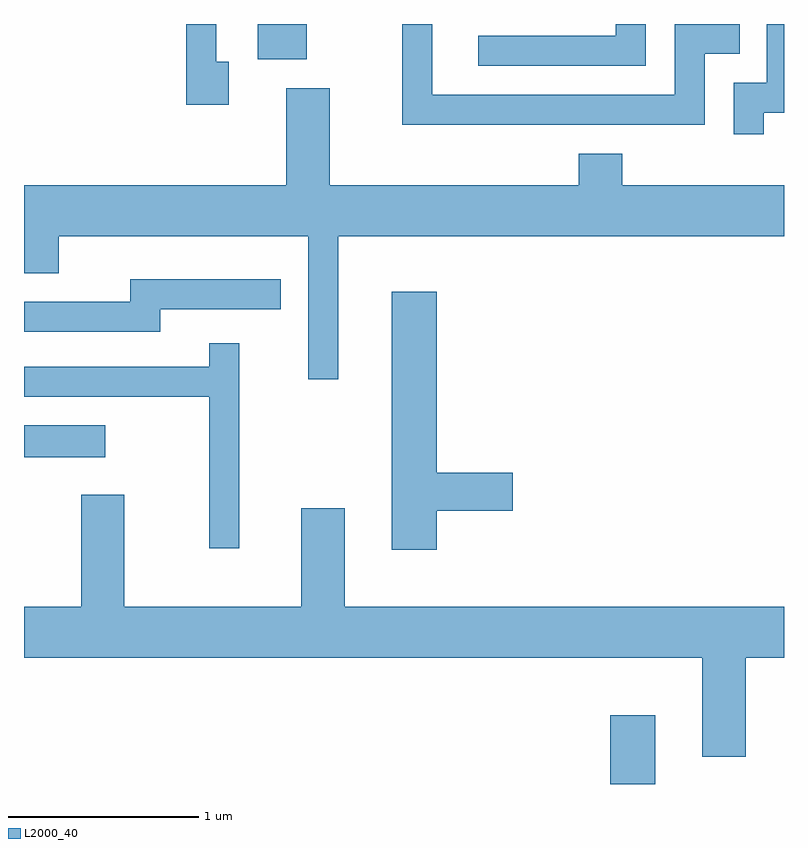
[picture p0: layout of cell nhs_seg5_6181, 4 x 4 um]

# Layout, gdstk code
import gdstk
lib = gdstk.Library(unit=1e-6, precision=1e-09)
def R(c, l, rs):  # rectangles x0, y0, x1, y1
    for r in rs: c.add(gdstk.rectangle(r[:2], r[2:], *l))
def P(c, l, *ps):  # polygons
    for p in ps: c.add(gdstk.Polygon(p, *l))
L2000_40 = (2000, 40)

nhs_seg5_6181 = lib.new_cell('nhs_seg5_6181')
R(nhs_seg5_6181, L2000_40, [(370.696,1516.072,370.934,1516.434), (367.611,1517.791,368.038,1517.959), (368.841,1519.886,369.099,1520.072)])
P(nhs_seg5_6181, L2000_40, [(370.884,1520.072),(370.726,1520.072),(370.726,1520.009),(370.003,1520.009),(370.003,1519.851),(370.884,1519.851)],
  [(371.194,1519.916),(371.378,1519.916),(371.378,1520.072),(371.036,1520.072),(371.036,1519.699),(369.759,1519.699),(369.759,1520.072),(369.601,1520.072),(369.601,1519.541),(371.194,1519.541)],
  [(368.689,1519.874),(368.624,1519.874),(368.624,1520.072),(368.466,1520.072),(368.466,1519.646),(368.689,1519.646)],
  [(371.504,1519.606),(371.611,1519.606),(371.611,1520.072),(371.521,1520.072),(371.521,1519.764),(371.346,1519.764),(371.346,1519.493),(371.504,1519.493)],
  [(369.264,1518.956),(371.611,1518.956),(371.611,1519.224),(370.759,1519.224),(370.759,1519.389),(370.531,1519.389),(370.531,1519.224),(369.219,1519.224),(369.219,1519.734),(368.991,1519.734),(368.991,1519.224),(367.611,1519.224),(367.611,1518.761),(367.794,1518.761),(367.794,1518.956),(369.106,1518.956),(369.106,1518.203),(369.264,1518.203)],
  [(368.329,1518.571),(368.963,1518.571),(368.963,1518.729),(368.171,1518.729),(368.171,1518.609),(367.611,1518.609),(367.611,1518.451),(368.329,1518.451)],
  [(369.784,1517.511),(370.184,1517.511),(370.184,1517.709),(369.784,1517.709),(369.784,1518.664),(369.546,1518.664),(369.546,1517.306),(369.784,1517.306)],
  [(368.744,1518.393),(368.586,1518.393),(368.586,1518.269),(367.611,1518.269),(367.611,1518.111),(368.586,1518.111),(368.586,1517.313),(368.744,1517.313)],
  [(371.409,1516.736),(371.611,1516.736),(371.611,1517.004),(369.299,1517.004),(369.299,1517.524),(369.071,1517.524),(369.071,1517.004),(368.139,1517.004),(368.139,1517.594),(367.911,1517.594),(367.911,1517.004),(367.611,1517.004),(367.611,1516.736),(371.181,1516.736),(371.181,1516.216),(371.409,1516.216)])

lib.write_gds('nhs_seg5_6181.gds')
